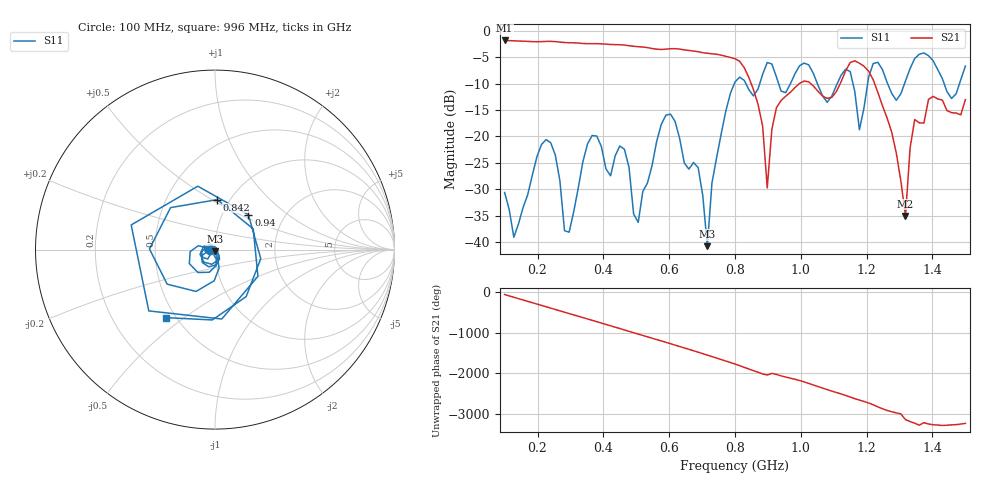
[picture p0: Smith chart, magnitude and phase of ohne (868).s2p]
! NanoVNA-App
! Date: 2025-09-25 14:27:33
! Start: 100MHz Stop: 1,5GHz Points: 101
! S-Parameter data: F S11 S21 S12 S22
# Hz S RI R 50
!  Frequency  S11_Real  S11_Imag  S21_Real  S21_Imag  S12_Real  S12_Imag  S22_Real  S22_Imag
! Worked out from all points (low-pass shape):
!   101 points, 100 MHz to 1.5 GHz, reference 50 ohm
!   highest |S21| = -1.79 dB at 100 MHz (marker M1); lowest = -35.1 dB at 1.318 GHz (marker M2)
!   |S21| within 3 dB of the highest: start of sweep to 771.7 MHz
!   lowest |S11| = -40.8 dB at 716 MHz (marker M3), VSWR 1.02, Z = 49.9 - j0.902 ohm
!   |S11| at or under -10 dB: start of sweep to 797.8 MHz; 833.2 MHz to 875 MHz (41.84 MHz wide, 4.9 % of centre); 1.05 GHz to 1.111 GHz (60.13 MHz wide, 5.56 % of centre) (the widest 3 of 7)
!   S12 and S22 are empty: the file has one direction only
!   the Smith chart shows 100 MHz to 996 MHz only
!   S11 on the Smith chart (normalised r, x): 100 MHz: 0.94, -0.01; 842 MHz: 0.88, +0.53; 940 MHz: 1.32, +0.56; 996 MHz: 0.44, -0.43
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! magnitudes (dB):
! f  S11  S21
! 100 MHz  -30.6  -1.8
! 128 MHz  -39.1  -1.9
! 226 MHz  -20.6  -2.0
! 296 MHz  -38.2  -2.2
! 338 MHz  -24.7  -2.4
! 464 MHz  -22.4  -2.7
! 506 MHz  -36.3  -3.0
! 576 MHz  -17.7  -3.5
! 688 MHz  -25.9  -3.9
! 716 MHz  -40.8  -4.2
! 800 MHz  -9.7  -5.3
! 842 MHz  -11.1  -8.8
! 898 MHz  -6.0  -29.8
! 940 MHz  -11.4  -13.2
! 996 MHz  -6.6  -9.9
! 1.038 GHz  -8.0  -10.4
! 1.178 GHz  -18.7  -6.1
! 1.22 GHz  -6.2  -9.3
! 1.276 GHz  -11.8  -19.2
! 1.318 GHz  -9.5  -35.1
! 1.346 GHz  -5.2  -16.8
! 1.5 GHz  -6.6  -13.0
